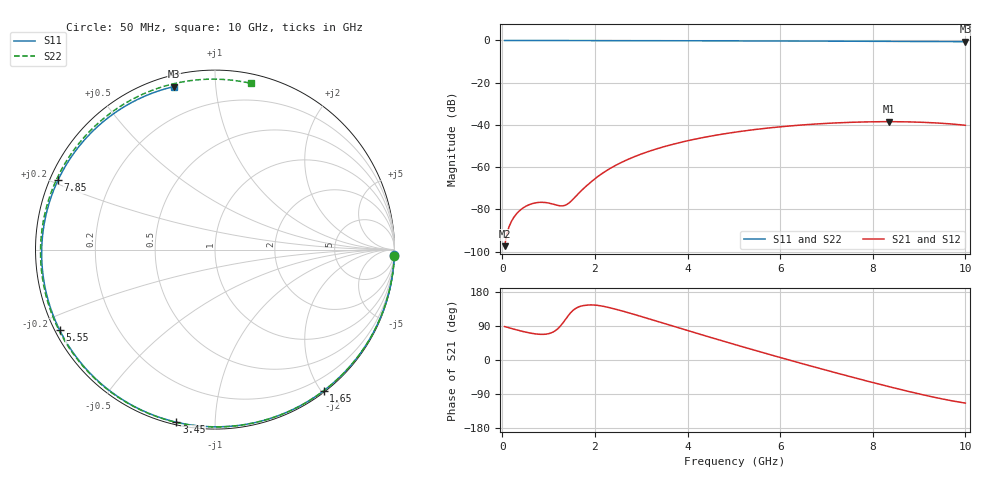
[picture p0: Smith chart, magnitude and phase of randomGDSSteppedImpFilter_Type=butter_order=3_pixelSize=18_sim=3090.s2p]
! freq	dB(S11)	phase(S11)	dB(S12)	phase(S12)
!  dB(S21)	phase(S21)	dB(S22)	phase(S22)
!S-par simulation data
#  GHz  S  DB  R 50
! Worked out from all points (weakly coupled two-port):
!   200 points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, 50 MHz to 10 GHz, reference 50 ohm
!   highest |S21| = -38.47 dB at 8.35 GHz (marker M1); lowest = -97.4 dB at 50 MHz (marker M2)
!   lowest |S11| = -0.6 dB at 10 GHz (marker M3), VSWR 30.51, Z = 2.63 + j38.9 ohm
!   |S11| at or under -10 dB: nowhere
!   |S22| runs from -0.5 to 0.0 dB; largest |S21 - S12| = 0
!   S11 on the Smith chart (normalised r, x): 50 MHz: 0, -69; 1.65 GHz: 0.02, -2.03; 3.45 GHz: 0.01, -0.80; 5.55 GHz: 0.01, -0.24; 7.85 GHz: 0.02, +0.21; 10 GHz: 0.05, +0.78
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0.05  -0.00 -1.7  -97.43 88.3  -97.43 88.3  -0.00 -2.0
0.4  -0.02 -13.0  -80.12 76.6  -80.12 76.6  -0.02 -15.5
0.6  -0.03 -19.5  -77.62 71.1  -77.62 71.1  -0.03 -23.1
0.8  -0.03 -25.9  -76.69 67.9  -76.69 67.9  -0.04 -30.7
1.35  -0.05 -43.2  -78.12 104.8  -78.12 104.8  -0.06 -50.9
1.45  -0.06 -46.3  -76.81 121.1  -76.81 121.1  -0.07 -54.4
1.65  -0.07 -52.4  -72.39 140.2  -72.39 140.2  -0.07 -61.4
1.75  -0.07 -55.4  -70.21 143.5  -70.21 143.5  -0.08 -64.9
2.1  -0.08 -65.7  -63.86 143.4  -63.86 143.4  -0.09 -76.6
2.45  -0.09 -75.7  -59.13 134.0  -59.13 134.0  -0.10 -87.9
2.9  -0.11 -88.1  -54.63 118.4  -54.63 118.4  -0.12 -101.6
3.4  -0.12 -101.3  -50.90 100.0  -50.90 100.0  -0.13 -115.9
3.45  -0.13 -102.6  -50.58 98.2  -50.58 98.2  -0.13 -117.3
4.25  -0.16 -122.5  -46.35 68.7  -46.35 68.7  -0.16 -138.6
5.05  -0.20 -141.2  -43.36 39.8  -43.36 39.8  -0.20 -158.5
5.55  -0.22 -152.6  -41.94 22.2  -41.94 22.2  -0.22 -170.5
6.1  -0.26 -164.8  -40.70 3.2  -40.70 3.2  -0.25 176.5
6.7  -0.30 -178.1  -39.67 -17.1  -39.67 -17.1  -0.29 162.3
7.85  -0.39 156.2  -38.58 -54.7  -38.58 -54.7  -0.36 134.6
8.35  -0.43 144.6  -38.47 -70.3  -38.47 -70.3  -0.39 122.1
9.2  -0.50 124.3  -38.88 -95.0  -38.88 -95.0  -0.43 99.9
10  -0.57 104.2  -40.17 -113.6  -40.17 -113.6  -0.47 77.8
